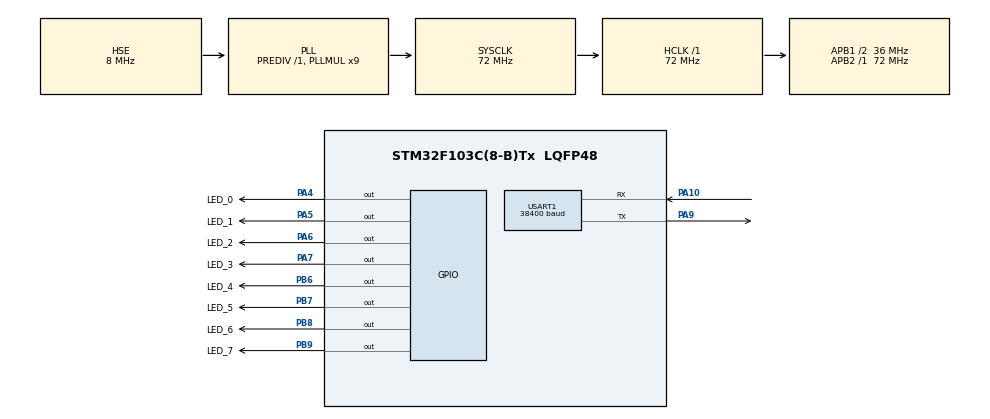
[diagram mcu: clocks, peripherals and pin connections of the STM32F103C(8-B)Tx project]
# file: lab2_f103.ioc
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Mcu.Family=STM32F1
Mcu.Name=STM32F103C(8-B)Tx
Mcu.Package=LQFP48
NVIC.PriorityGroup=NVIC_PRIORITYGROUP_4
NVIC.USART1_IRQn=true\:1\:0\:true\:false\:true\:true\:true\:true
PA10.Mode=Asynchronous
PA10.Signal=USART1_RX
PA13.Mode=Serial_Wire
PA13.Signal=SYS_JTMS-SWDIO
PA14.Mode=Serial_Wire
PA14.Signal=SYS_JTCK-SWCLK
PA4.GPIO_Label=LED_0
PA4.Signal=GPIO_Output
PA5.GPIO_Label=LED_1
PA5.Signal=GPIO_Output
PA6.GPIO_Label=LED_2
PA6.Signal=GPIO_Output
PA7.GPIO_Label=LED_3
PA7.Signal=GPIO_Output
PA9.Mode=Asynchronous
PA9.Signal=USART1_TX
PB6.GPIO_Label=LED_4
PB6.Signal=GPIO_Output
PB7.GPIO_Label=LED_5
PB7.Signal=GPIO_Output
PB8.GPIO_Label=LED_6
PB8.Signal=GPIO_Output
PB9.GPIO_Label=LED_7
PB9.Signal=GPIO_Output
PD0-OSC_IN.Mode=HSE-External-Oscillator
PD0-OSC_IN.Signal=RCC_OSC_IN
PD1-OSC_OUT.Mode=HSE-External-Oscillator
PD1-OSC_OUT.Signal=RCC_OSC_OUT
ProjectManager.HeapSize=0x200
ProjectManager.StackSize=0x400
ProjectManager.TargetToolchain=STM32CubeIDE
RCC.AHBFreq_Value=72000000
RCC.APB1CLKDivider=RCC_HCLK_DIV2
RCC.APB1Freq_Value=36000000
RCC.APB1TimFreq_Value=72000000
RCC.APB2Freq_Value=72000000
RCC.APB2TimFreq_Value=72000000
RCC.HCLKFreq_Value=72000000
RCC.PLLMUL=RCC_PLL_MUL9
RCC.PLLSourceVirtual=RCC_PLLSOURCE_HSE
RCC.SYSCLKFreq_VALUE=72000000
RCC.SYSCLKSource=RCC_SYSCLKSOURCE_PLLCLK
RCC.USBFreq_Value=72000000
USART1.BaudRate=38400
USART1.VirtualMode=VM_ASYNC
board=custom

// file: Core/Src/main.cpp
/* USER CODE BEGIN Header */
/**
  ******************************************************************************
  * @file           : main.c
  * @brief          : Main program body
  ******************************************************************************
  * @attention
  *
  * Copyright (c) 2024 STMicroelectronics.
  * All rights reserved.
  *
  * This software is licensed under terms that can be found in the LICENSE file
  * in the root directory of this software component.
  * If no LICENSE file comes with this software, it is provided AS-IS.
  *
  ******************************************************************************
  */
/* USER CODE END Header */
#include "main.h"
#include "usart.h"
#include "gpio.h"
/* USER CODE BEGIN Includes */
#include "string.h"
#include "led_utils.hpp"
#include "etl/vector.h"
/* USER CODE END Includes */

/* USER CODE BEGIN PD */
#define BUFF_SIZE (100)
/* USER CODE END PD */

void SystemClock_Config(void);

/* USER CODE BEGIN 0 */
char *str = "Lorem ipsum dolor sit amet, consectetur adipiscing elit. Aliquam ultrices consequat lobortis. Maecenas volutpat tortor a diam dictum hendrerit. Lorem ipsum dolor sit amet, consectetur adipiscing elit. Nam mattis urna a dapibus dignissim. Morbi ornare massa sit amet euismod mollis. Donec sit amet condimentum augue, ut egestas tellus. Nulla non rutrum quam. Vivamus eget luctus nulla. Phasellus tellus metus, blandit nec gravida ultricies, tempor eget ante. Etiam ac quam aliquet, ultricies arcu vitae, condimentum est. Curabitur congue, urna sodales imperdiet semper, erat felis faucibus dui, ut accumsan dolor erat a arcu. Mauris nec consectetur neque. Donec maximus leo et orci pulvinar, eget dapibus lacus congue. \n";
//etl::vector<LED, 8> led_vec;
LED_Vector<8> led_vec;

uint8_t tmp_rx_data;
uint32_t buffer_counter = 0;
uint8_t buffer[BUFF_SIZE] = {0};

void HAL_UART_RxCpltCallback(UART_HandleTypeDef *huart)
{
	if (huart->Instance == huart1.Instance)
	{
	//	Read to Buffer
		if (buffer_counter >= BUFF_SIZE -1) buffer_counter = 0; // Reset buffer counter if size of string too big
		buffer[buffer_counter++] = tmp_rx_data;

	//	Check if buffer is big enough
		if (process_buffer())
		{
			// Reset buffer whenever command executed successfully
			buffer_counter = 0;
			memset(&buffer, 0, BUFF_SIZE);
		}

//		Read the next characters
		HAL_UART_Receive_IT(&huart1, &tmp_rx_data, 1);

	}

}

uint8_t process_buffer()
{
//	HAL_UART_Transmit(&huart1, &buffer, buffer_counter, 1000);
	if (strstr((char*)&buffer, "PING") != NULL)
	{
		char* feedback = "PING OK\n";
		HAL_UART_Transmit(&huart1, (uint8_t*)feedback, strlen(feedback), 1000);
		return 1;
	}
	else if (strstr((char*)&buffer, "ALL ON") != NULL)
	{
		char* feedback = "ALL ON OK\n";
		HAL_UART_Transmit(&huart1, (uint8_t*)feedback, strlen(feedback), 1000);
		led_vec.all_on();
		return 1;
	}
	else if (strstr((char*)&buffer, "ALL OFF") != NULL)
	{
		char* feedback = "ALL OFF OK\n";
		HAL_UART_Transmit(&huart1, (uint8_t*)feedback, strlen(feedback), 1000);
		led_vec.all_off();
		return 1;
	}
	else // Commands with argument
	{
		char tmp_str[BUFF_SIZE] = {0};
//		Copy to tmp string
		strcpy(tmp_str, (char*)buffer);
		char *cmd = strtok(tmp_str, " ");
		char *arg = strtok(NULL, " ");

		if (strstr(cmd, "TURN") != NULL)
		{
			if (strlen(arg) >= 10) // successful got the argument for turn
			{
				char tmp_fb[100];
				strcpy(tmp_fb, "CMD: TURN | ARG: ");
				strcat(tmp_fb, arg);
				strcat(tmp_fb, "\n");
				HAL_UART_Transmit(&huart1, (uint8_t*)tmp_fb, strlen(tmp_fb), 1000);
				led_vec.turn(&arg[2]);
				return 1;
			}
		}
		else if (strstr(cmd, "ASK") != NULL)
		{
			if (strlen(arg) >= 1) // successful got the argument for turn
			{
				char tmp_fb[100];
				itoa(led_vec.get_state(atoi(arg)), tmp_fb, 10);
				strcat(tmp_fb, "\n" );
				HAL_UART_Transmit(&huart1, (uint8_t*)tmp_fb, strlen(tmp_fb), 1000);
				return 1;
			}
		}

	}

//

	return 0;
}
/* USER CODE END 0 */

int main(void)
{
  /* USER CODE BEGIN 1 */
	LED LED_0 {LED_0_GPIO_Port, LED_0_Pin};
	LED LED_1 {LED_1_GPIO_Port, LED_1_Pin};
	LED LED_2 {LED_2_GPIO_Port, LED_2_Pin};
	LED LED_3 {LED_3_GPIO_Port, LED_3_Pin};
	LED LED_4 {LED_4_GPIO_Port, LED_4_Pin};
	LED LED_5 {LED_5_GPIO_Port, LED_5_Pin};
	LED LED_6 {LED_6_GPIO_Port, LED_6_Pin};
	LED LED_7 {LED_7_GPIO_Port, LED_7_Pin};

	led_vec.vec.push_back(&LED_0);
	led_vec.vec.push_back(&LED_1);
	led_vec.vec.push_back(&LED_2);
	led_vec.vec.push_back(&LED_3);
	led_vec.vec.push_back(&LED_4);
	led_vec.vec.push_back(&LED_5);
	led_vec.vec.push_back(&LED_6);
	led_vec.vec.push_back(&LED_7);

  /* USER CODE END 1 */

  /* MCU Configuration--------------------------------------------------------*/

  /* Reset of all peripherals, Initializes the Flash interface and the Systick. */
  HAL_Init();

  /* Configure the system clock */
  SystemClock_Config();

  /* Initialize all configured peripherals */
  MX_GPIO_Init();
  MX_USART1_UART_Init();
  /* USER CODE BEGIN 2 */

  HAL_UART_Receive_IT(&huart1, &tmp_rx_data, 1);
  /* USER CODE END 2 */

  /* Infinite loop */
  while (1)
  {

    /* USER CODE BEGIN 3 */
//	  HAL_UART_Transmit(&huart1, (uint8_t*) str, strlen(str), 1000);
//	  HAL_UART_Transmit_IT(&huart1, (uint8_t*) str, strlen(str));
//	  HAL_UART_Receive(&huart1, &data, 1, 1000);
//	  LED0.toogle();
//	  led_vec.turn("00010101");
//	  HAL_Delay(500);
//	  led_vec.turn("11001100");
//	  HAL_Delay(500);
  }
  /* USER CODE END 3 */
}

void SystemClock_Config(void)
{
  RCC_OscInitTypeDef RCC_OscInitStruct = {0};
  RCC_ClkInitTypeDef RCC_ClkInitStruct = {0};

  /** Initializes the RCC Oscillators according to the specified parameters
  * in the RCC_OscInitTypeDef structure.
  */
  RCC_OscInitStruct.OscillatorType = RCC_OSCILLATORTYPE_HSE;
  RCC_OscInitStruct.HSEState = RCC_HSE_ON;
  RCC_OscInitStruct.HSEPredivValue = RCC_HSE_PREDIV_DIV1;
  RCC_OscInitStruct.HSIState = RCC_HSI_ON;
  RCC_OscInitStruct.PLL.PLLState = RCC_PLL_ON;
  RCC_OscInitStruct.PLL.PLLSource = RCC_PLLSOURCE_HSE;
  RCC_OscInitStruct.PLL.PLLMUL = RCC_PLL_MUL9;
  if (HAL_RCC_OscConfig(&RCC_OscInitStruct) != HAL_OK)
  {
    Error_Handler();
  }

  /** Initializes the CPU, AHB and APB buses clocks
  */
  RCC_ClkInitStruct.ClockType = RCC_CLOCKTYPE_HCLK|RCC_CLOCKTYPE_SYSCLK
                              |RCC_CLOCKTYPE_PCLK1|RCC_CLOCKTYPE_PCLK2;
  RCC_ClkInitStruct.SYSCLKSource = RCC_SYSCLKSOURCE_PLLCLK;
  RCC_ClkInitStruct.AHBCLKDivider = RCC_SYSCLK_DIV1;
  RCC_ClkInitStruct.APB1CLKDivider = RCC_HCLK_DIV2;
  RCC_ClkInitStruct.APB2CLKDivider = RCC_HCLK_DIV1;

  if (HAL_RCC_ClockConfig(&RCC_ClkInitStruct, FLASH_LATENCY_2) != HAL_OK)
  {
    Error_Handler();
  }
}

void Error_Handler(void)
{
  __disable_irq();
  while (1)
  {
  }
}
